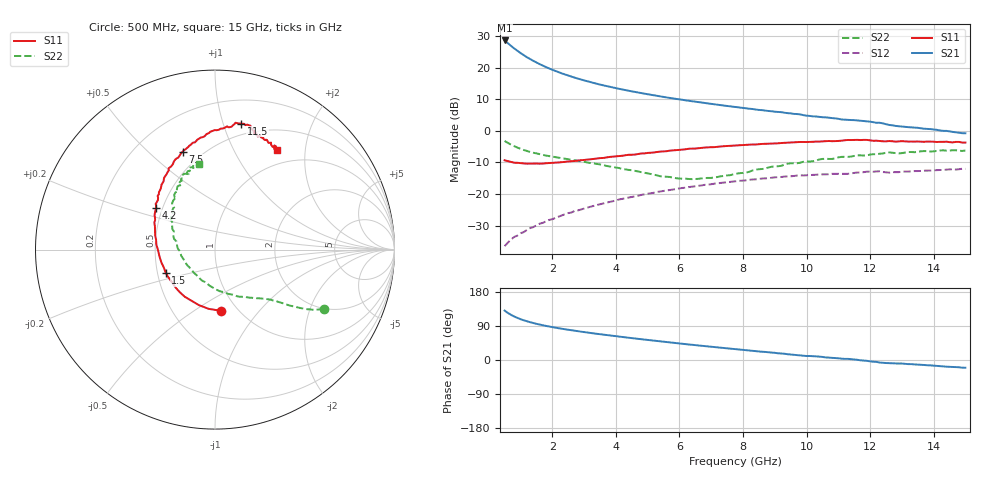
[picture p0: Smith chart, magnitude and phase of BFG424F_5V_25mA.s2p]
! Filename BFG424F_5V_25mA.prm
! Simulation_Values
! Created	by	janssen	on	nov	2006
!	Column ranking S11, S21,S12,S22 both magnitude and phase.
!	VCE	=	5	V,	IC	=	25	mA
!	Common	Emitter	S-Parameters
#	GHZ	S	MA	R	50
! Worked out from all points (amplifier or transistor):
!   146 points, 500 MHz to 15 GHz, reference 50 ohm
!   highest |S21| = 28.6 dB at 500 MHz (marker M1)
!   |S21| within 3 dB of that: start of sweep to 866.4 MHz
!   unconditionally stable (mu >= 1): 1.4 GHz to end of sweep
!   at 2.9 GHz: K = 1.15, MAG = 18.2 dB, |S12| = -24.9 dB
!   at 7.8 GHz: K = 1.13, MAG = 9.5 dB, |S12| = -15.9 dB
!   at 15 GHz: K = 1.37, MAG = 2.0 dB, |S12| = -12.0 dB
!   S11 on the Smith chart (normalised r, x): 500 MHz: 0.84, -0.65; 1.5 GHz: 0.55, -0.16; 4.2 GHz: 0.46, +0.26; 7.5 GHz: 0.40, +0.65; 11.5 GHz: 0.40, +1.15; 15 GHz: 0.78, +1.51
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0.5  0.342 -84.8  26.82 130.4  0.015 62.6  0.691 -28.7
0.6  0.332 -96.1  24.29 124.4  0.017 61.8  0.645 -31.4
0.7  0.322 -106.3  22.06 119.3  0.019 62.5  0.605 -33.2
0.8  0.313 -115.1  20.1 114.9  0.021 62.5  0.572 -34.6
0.9  0.312 -122.8  18.45 111.2  0.022 62.9  0.543 -35.8
1  0.308 -129.6  16.99 107.8  0.024 63.2  0.52 -36.8
1.2  0.302 -141.1  14.6 102.2  0.027 64.8  0.48 -38.4
1.4  0.303 -150.9  12.79 97.5  0.03 65.9  0.45 -39.9
1.5  0.304 -154.9  12.03 95.5  0.032 66.2  0.44 -40.4
1.8  0.307 -166.2  10.19 90.0  0.037 67.7  0.407 -42.9
2.2  0.316 -177.7  8.445 83.8  0.044 68.8  0.376 -46.4
2.6  0.33 172.9  7.202 78.4  0.051 69.3  0.349 -50.9
3  0.346 164.8  6.271 73.7  0.059 69.5  0.324 -55.4
3.6  0.372 153.8  5.242 66.9  0.071 68.8  0.288 -64.6
4.2  0.403 144.5  4.503 60.7  0.084 67.5  0.25 -75.5
5.4  0.469 129.5  3.508 49.1  0.11 63.3  0.191 -104.2
7.5  0.575 108.1  2.47 30.8  0.154 54.1  0.197 -176.5
7.8  0.586 105.6  2.37 28.4  0.16 52.8  0.21 176.5
10.2  0.67 87.8  1.691 10.1  0.201 40.1  0.33 134.0
11.5  0.717 78.3  1.475 1.4  0.216 35.6  0.4 122.0
12.6  0.689 70.5  1.237 -8.3  0.218 28.7  0.456 112.0
15  0.652 58.0  0.915 -20.4  0.25 19.7  0.488 100.8
